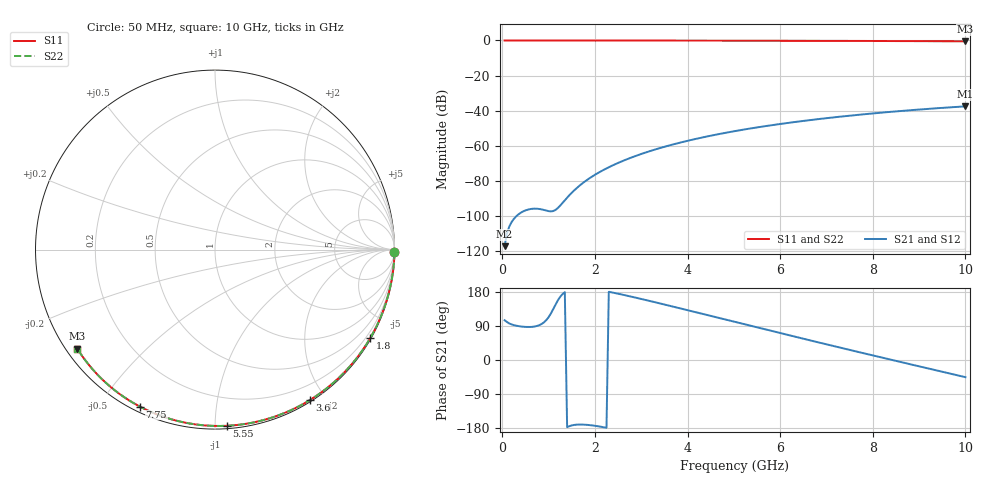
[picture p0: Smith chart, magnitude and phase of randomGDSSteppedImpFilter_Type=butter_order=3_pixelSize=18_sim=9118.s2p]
! freq	dB(S11)	phase(S11)	dB(S12)	phase(S12)
!  dB(S21)	phase(S21)	dB(S22)	phase(S22)
!S-par simulation data
#  GHz  S  DB  R 50
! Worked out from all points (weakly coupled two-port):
!   200 points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, 50 MHz to 10 GHz, reference 50 ohm
!   highest |S21| = -37.56 dB at 10 GHz (marker M1); lowest = -117.3 dB at 50 MHz (marker M2)
!   lowest |S11| = -0.5 dB at 10 GHz (marker M3), VSWR 35.47, Z = 1.56 - j16.1 ohm
!   |S11| at or under -10 dB: nowhere
!   |S22| runs from -0.5 to 0.0 dB; largest |S21 - S12| = 0
!   S11 on the Smith chart (normalised r, x): 50 MHz: open; 1.8 GHz: 0.03, -3.78; 3.6 GHz: 0.02, -1.81; 5.55 GHz: 0.02, -1.07; 7.75 GHz: 0.02, -0.63; 10 GHz: 0.03, -0.32
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0.05  -0.00 -0.8  -117.25 104.9  -117.25 104.9  -0.00 -0.8
0.45  -0.01 -7.5  -97.45 87.7  -97.45 87.7  -0.01 -7.5
0.9  -0.02 -15.0  -96.62 99.3  -96.62 99.3  -0.02 -15.0
1.3  -0.03 -21.5  -92.61 173.8  -92.61 173.8  -0.03 -21.5
1.75  -0.04 -28.8  -81.05 -170.5  -81.05 -170.5  -0.04 -28.8
1.8  -0.04 -29.6  -80.07 -170.9  -80.07 -170.9  -0.04 -29.6
2  -0.04 -32.9  -76.58 -173.6  -76.58 -173.6  -0.04 -32.9
2.15  -0.05 -35.3  -74.31 -176.6  -74.31 -176.6  -0.05 -35.3
2.5  -0.05 -40.8  -69.81 175.0  -69.81 175.0  -0.05 -40.8
2.9  -0.06 -47.1  -65.63 164.0  -65.63 164.0  -0.06 -47.1
3.4  -0.07 -54.8  -61.36 149.5  -61.36 149.5  -0.07 -54.8
3.6  -0.08 -57.8  -59.88 143.5  -59.88 143.5  -0.08 -57.8
4.3  -0.10 -68.3  -55.40 122.4  -55.40 122.4  -0.10 -68.3
5.05  -0.12 -79.1  -51.54 99.7  -51.54 99.7  -0.12 -79.1
5.55  -0.14 -86.1  -49.36 84.6  -49.36 84.6  -0.14 -86.1
6.1  -0.17 -93.7  -47.24 68.1  -47.24 68.1  -0.17 -93.7
6.7  -0.20 -101.8  -45.21 50.2  -45.21 50.2  -0.20 -101.8
7.2  -0.23 -108.4  -43.71 35.4  -43.71 35.4  -0.23 -108.4
7.75  -0.27 -115.5  -42.22 19.4  -42.22 19.4  -0.27 -115.5
8.35  -0.32 -123.3  -40.77 2.0  -40.77 2.0  -0.32 -123.3
9.2  -0.40 -134.1  -38.98 -22.4  -38.98 -22.4  -0.40 -134.1
10  -0.49 -144.3  -37.56 -45.3  -37.56 -45.3  -0.49 -144.3
